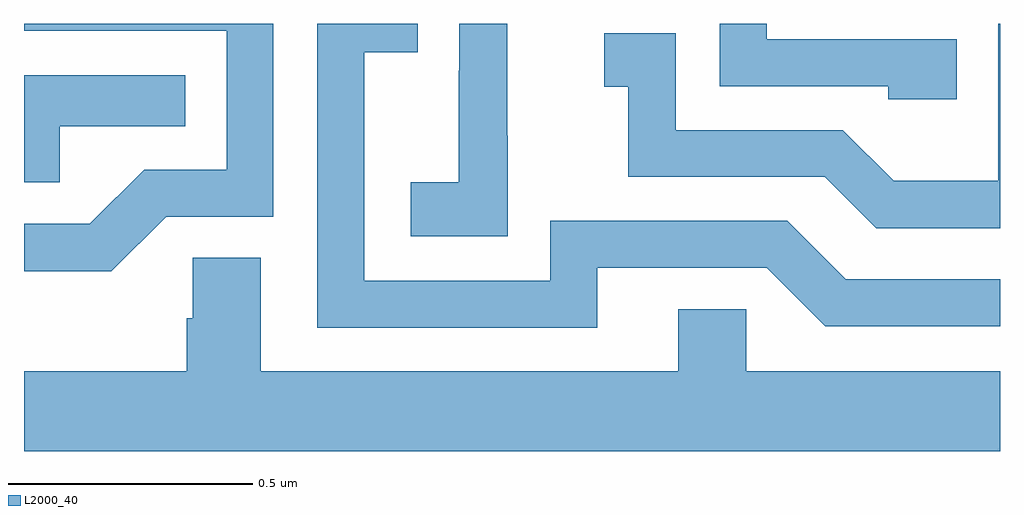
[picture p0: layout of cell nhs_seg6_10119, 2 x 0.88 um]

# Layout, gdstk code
import gdstk
lib = gdstk.Library(unit=1e-6, precision=1e-09)
def P(c, l, *ps):  # polygons
    for p in ps: c.add(gdstk.Polygon(p, *l))
L2000_40 = (2000, 40)

nhs_seg6_10119 = lib.new_cell('nhs_seg6_10119')
P(nhs_seg6_10119, L2000_40, [(242.991,993.271),(242.99,993.271),(242.99,993.5),(242.892,993.5),(242.892,993.404),(242.891,993.404),(242.891,993.175),(242.793,993.175),(242.793,993.065),(242.991,993.065)],
  [(243.911,993.468),(243.522,993.468),(243.522,993.5),(243.426,993.5),(243.426,993.372),(243.771,993.372),(243.771,993.345),(243.911,993.345)],
  [(243.175,993),(243.522,993),(243.642,992.88),(244,992.88),(244,992.976),(243.684,992.976),(243.564,993.096),(243.078,993.096),(243.078,992.973),(242.697,992.973),(242.697,993.442),(242.807,993.442),(242.807,993.5),(242.601,993.5),(242.601,992.877),(243.175,992.877)],
  [(244,993.5),(243.996,993.5),(243.996,993.178),(243.782,993.178),(243.678,993.282),(243.336,993.282),(243.336,993.481),(243.189,993.481),(243.189,993.371),(243.238,993.371),(243.238,993.186),(243.641,993.186),(243.746,993.081),(244,993.081)],
  [(242.292,993.105),(242.511,993.105),(242.511,993.5),(242,993.5),(242,993.486),(242.415,993.486),(242.415,993.201),(242.246,993.201),(242.135,993.09),(242.001,993.09),(242.001,992.993),(242.179,992.993)],
  [(242.073,993.29),(242.33,993.29),(242.33,993.394),(242,993.394),(242,993.175),(242.073,993.175)],
  [(244,992.788),(243.48,992.788),(243.48,992.915),(243.341,992.915),(243.341,992.788),(242.485,992.788),(242.485,993.02),(242.346,993.02),(242.346,992.897),(242.333,992.897),(242.333,992.788),(242,992.788),(242,992.624),(244,992.624)])

lib.write_gds('nhs_seg6_10119.gds')
